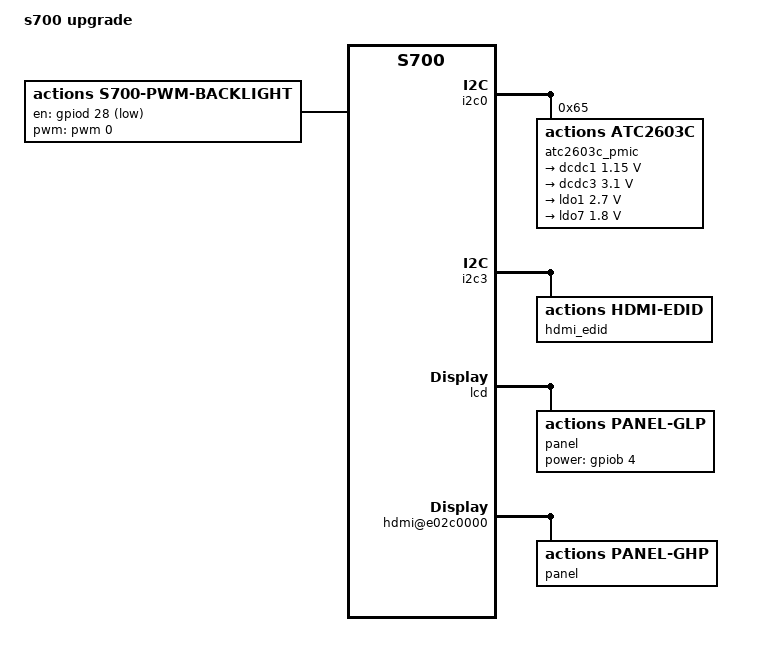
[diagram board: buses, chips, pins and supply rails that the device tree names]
/*
 * Copyright (c) 2015 Actions Semi Co., Ltd.
 *
 * SPDX-License-Identifier:	GPL-2.0+
 */

/dts-v1/;

#include "s700.dtsi"

/ {
	model = "s700 upgrade";
	compatible = "actions,s700_upgrade", "actions,s700";

	chosen {
		stdout-path = &serial3;
	};

	clock:e0168000 {
		compatible = "actions,owl-clk";
		core_pll = <600>;
		dev_pll = <600>;
		display_pll = <720>;
	};

	pwm: pwm@e01b0000 {
		pwm0 {
			id = <0>;
			mfp = <0>;
		};

		pwm1 {
			id = <1>;
			mfp = <0>;
		};

		pwm2 {
			id = <2>;
			mfp = <0>;
		};
	};

	xhci@e0400000 {
		actions,vbus-gpio = <&gpioc 14 0>;  /* GPIOC14,  1: low active; 0: high active */
	};

	i2c0: i2c@e0170000 {
		#address-cells = <1>;
		#size-cells = <1>;
		atc2603c_pmic {
			compatible = "actions,atc2603c";
			reg = <0x65 1>;


			total_steps = <2625>;
			pwms_gpu = <&pwm 1 2625 0>;
			vdd_gpu = <485>;
			vdd_core = <490>;
			pwms_core = <&pwm 2 2625 0>;
			atc2603c_pstore {
				compatible = "actions,atc2603c-pstore";
			};

			voltage-regulators {
				dcdc1: dcdc1 {
					regulator-name = "dcdc1";
					regulator-min-microvolt = <1150000>;
					regulator-max-microvolt = <1150000>;
					regulator-always-on;
				};

				dcdc3: dcdc3 {
					regulator-name = "dcdc3";
					regulator-min-microvolt = <3100000>;
					regulator-max-microvolt = <3100000>;
					regulator-always-on;
				};

				ldo1: ldo1{
					regulator-name = "ldo1";
					regulator-min-microvolt  = <2700000>;
					regulator-max-microvolt = <2700000>;
					regulator-always-on;
				};


			ldo7: ldo7{
				regulator-name = "ldo7";
				regulator-min-microvolt  = <1800000>;
				regulator-max-microvolt = <1800000>;
				regulator-always-on;
			};
		};
		atc2603c_irkey {
			compatible = "actions,atc2603c-ir";
			config {
				protocol = <1>; /* 0:9012 1:NEC8 2:RC5 */
				customer_code = <0x0dff40>;
				wk_code = <0x4d>;
				keymapsize = <45>;
				ir_code  =<0x0 0x01 0x02 0x03 0x04 0x05 0x06 0x07 0x08 0x09  0x0A  0x0B  0x0C  0x0D  0x0E  0x0F  0x10 0x11  0x12 0x13 0x14 0x15  0x16 0x17 0x18 0x19 0x1A  0x1B 0x1C  0x1D 0x1E 0x1F 0x40 0x41 0x42  0x43  0x44 0x45  0x46 0x47 0x4D  0x53 0x54  0x57 0x5B>;
				key_code =<11   2   3    4    5    6    7    8    9 	 10 	 100    103  126   353   108   52    105  106    14   60   63  115    80   61   65   76   172   78   114   97   79   75   77  81   158    113  65   139   64   71   116   72   175   82   73>;
			};
			config-1 {
				protocol = <1>; /* 0:9012 1:NEC8 2:RC5 */
				customer_code = <0x0dff40>;
				wk_code = <0x4d>;
				keymapsize = <45>;
				ir_code  =<0x0 0x01 0x02 0x03 0x04 0x05 0x06 0x07 0x08 0x09  0x0A  0x0B  0x0C  0x0D  0x0E  0x0F  0x10 0x11  0x12 0x13 0x14 0x15  0x16 0x17 0x18 0x19 0x1A  0x1B 0x1C  0x1D 0x1E 0x1F 0x40 0x41 0x42  0x43  0x44 0x45  0x46 0x47 0x4D  0x53 0x54  0x57 0x5B>;
				key_code =<11   2   3    4    5    6    7    8    9 	 10 	 100    103  126   353   108   52    105  106    14   60   63  115    80   61   65   76   172   78   114   97   79   75   77  81   158    113  65   139   64   71   116   72   175   82   73>;
			};
		};

		};
	};

	i2c3: i2c@e017c000 {
		hdmi_edid {
			compatible = "actions,hdmi-edid";
		};
	};

	backlight {
		compatible = "actions,s700-pwm-backlight";

		/* GPIOD28, active high */
		en-gpios = <&gpiod 28 1>;

		/*1.pwm num; 2. period in ns; */
		/*3.plarity, 0: high active, 1: low active*/
		pwms = <&pwm 0 50000 1>;

		total_steps = <1024>;
		min_brightness = <100>;
		max_brightness = <1000>;
		dft_brightness = <500>;

		delay_bf_pwm = <0>; /*in ms*/
		delay_af_pwm = <20>; /*in ms*/
	};

	lcd: lcd@e02a0000 {

		panel_configs = <&config0>;

		/* 1280x800p60 */
		config0: lcd_configs {
			port_type = <0>;	/* 0, RGB; 1, CPU; 2, LVDS; 3, EDP */

			vsync_inversion = <0>;
			hsync_inversion = <0>;
			dclk_inversion = <0>;
			lde_inversion = <0>;

			pclk_parent = <0>;	/* 0, DISPLAY PLL; 1, NAND PLL */
			pclk_rate = <60000000>;/* 72MHz, DISPLAY PLL, divider 10 */
		};

		/* lcd panel */
		panel@glp {
			compatible = "actions,panel-glp";

			/* panel's fixed info */
			width_mm = <197>;
			height_mm = <147>;
			bpp = <24>;

			is_primary = <1>;

			/* operation delay in ms */
			power_on_delay = <0>;
			power_off_delay = <0>;
			enable_delay = <0>;
			disable_delay = <0>;

	power-gpio = <&gpiob 4 0>;		/* GPIOD30, high power on */

			videomode-0 = <&mode0>;
			/* 800 * 1280p60 */
			mode0: videomode {
				refresh_rate = <60>;
				xres = <1024>;
				yres = <600>;
				/*
				 * pclk_rate = 66M
				 * pixel_clock = picoseconds / pclk_rate
				 */
				pixel_clock = <20000>;

				hsw = <20>;
				hbp = <138>;
				hfp = <162>;

				vsw = <3>;
				vbp = <22>;
				vfp = <10>;

				/* 0: FB_VMODE_NONINTERLACED, 1:FB_VMODE_INTERLACED */
				vmode = <0>;
			};
		};
	};

	hdmi@e02c0000 {
		channel_invert = <0>;
		bit_invert = <0>;

		panel@ghp {
			compatible = "actions,panel-ghp";

			is_primary = <0>;

		};
	};

};
